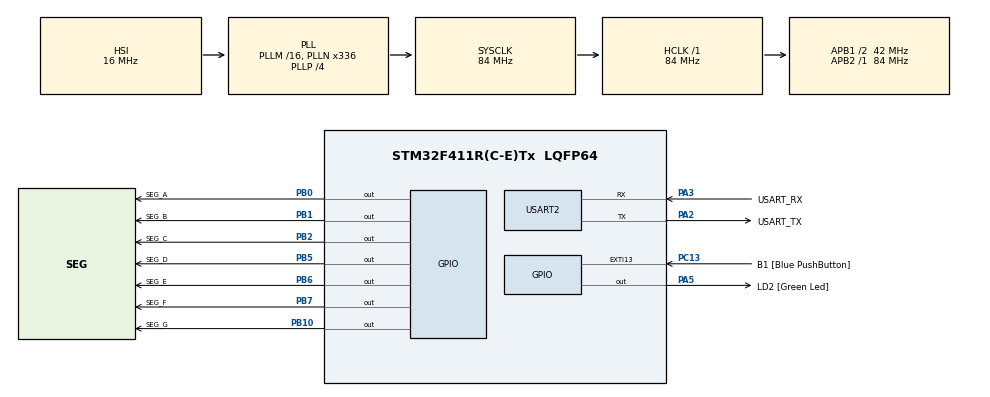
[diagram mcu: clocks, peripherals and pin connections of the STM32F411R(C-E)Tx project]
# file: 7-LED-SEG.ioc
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Mcu.Family=STM32F4
Mcu.Name=STM32F411R(C-E)Tx
Mcu.Package=LQFP64
NVIC.PriorityGroup=NVIC_PRIORITYGROUP_0
PA13.GPIO_Label=TMS
PA13.Mode=Serial_Wire
PA13.Signal=SYS_JTMS-SWDIO
PA14.GPIO_Label=TCK
PA14.Mode=Serial_Wire
PA14.Signal=SYS_JTCK-SWCLK
PA2.GPIO_Label=USART_TX
PA2.Mode=Asynchronous
PA2.Signal=USART2_TX
PA3.GPIO_Label=USART_RX
PA3.Mode=Asynchronous
PA3.Signal=USART2_RX
PA5.GPIO_Label=LD2 [Green Led]
PA5.Signal=GPIO_Output
PB0.GPIO_Label=SEG_A
PB0.Signal=GPIO_Output
PB1.GPIO_Label=SEG_B
PB1.Signal=GPIO_Output
PB10.GPIO_Label=SEG_G
PB10.Signal=GPIO_Output
PB2.GPIO_Label=SEG_C
PB2.Signal=GPIO_Output
PB3.GPIO_Label=SWO
PB3.Signal=SYS_JTDO-SWO
PB5.GPIO_Label=SEG_D
PB5.Signal=GPIO_Output
PB6.GPIO_Label=SEG_E
PB6.Signal=GPIO_Output
PB7.GPIO_Label=SEG_F
PB7.Signal=GPIO_Output
PC13-ANTI_TAMP.GPIO_Label=B1 [Blue PushButton]
PC13-ANTI_TAMP.GPIO_ModeDefaultEXTI=GPIO_MODE_IT_FALLING
PC13-ANTI_TAMP.Signal=GPXTI13
PC14-OSC32_IN.Mode=LSE-External-Oscillator
PC14-OSC32_IN.Signal=RCC_OSC32_IN
PC15-OSC32_OUT.Mode=LSE-External-Oscillator
PC15-OSC32_OUT.Signal=RCC_OSC32_OUT
PH0\ -\ OSC_IN.Mode=HSE-External-Clock-Source
PH0\ -\ OSC_IN.Signal=RCC_OSC_IN
PH1\ -\ OSC_OUT.Mode=HSE-External-Clock-Source
PH1\ -\ OSC_OUT.Signal=RCC_OSC_OUT
ProjectManager.HeapSize=0x200
ProjectManager.StackSize=0x400
ProjectManager.TargetToolchain=STM32CubeIDE
RCC.48MHZClocksFreq_Value=84000000
RCC.AHBFreq_Value=84000000
RCC.APB1CLKDivider=RCC_HCLK_DIV2
RCC.APB1Freq_Value=42000000
RCC.APB1TimFreq_Value=84000000
RCC.APB2Freq_Value=84000000
RCC.APB2TimFreq_Value=84000000
RCC.CortexFreq_Value=84000000
RCC.FLatency-AdvancedSettings=FLASH_LATENCY_2
RCC.HCLKFreq_Value=84000000
RCC.HSE_VALUE=8000000
RCC.HSI_VALUE=16000000
RCC.PLLN=336
RCC.PLLP=RCC_PLLP_DIV4
RCC.SYSCLKFreq_VALUE=84000000
RCC.SYSCLKSource=RCC_SYSCLKSOURCE_PLLCLK
RCC.VCOOutputFreq_Value=336000000
USART2.VirtualMode=VM_ASYNC
board=NUCLEO-F411RE

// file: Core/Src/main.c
/* USER CODE BEGIN Header */
/**
  ******************************************************************************
  * @file           : main.c
  * @brief          : Main program body
  ******************************************************************************
  * @attention
  *
  * Copyright (c) 2026 STMicroelectronics.
  * All rights reserved.
  *
  * This software is licensed under terms that can be found in the LICENSE file
  * in the root directory of this software component.
  * If no LICENSE file comes with this software, it is provided AS-IS.
  *
  ******************************************************************************
  */
/* USER CODE END Header */
#include "main.h"

UART_HandleTypeDef huart2;

void SystemClock_Config(void);
static void MX_GPIO_Init(void);
static void MX_USART2_UART_Init(void);

/* USER CODE BEGIN 0 */
// Thứ tự bit: g f e d c b a (bit0=a ... bit6=g), 1 = tắt, 0 = sáng (common anode)
uint8_t seg_code[10] = {
    0b1000000, // 0 -> abcdef sáng, g tắt... (sẽ tách theo từng chân riêng bên dưới)
};

// Vì mỗi đoạn đi ra 1 chân GPIO riêng (không dùng shift register),
// ta dùng mảng segment pattern cho từng số, theo thứ tự a,b,c,d,e,f,g:
// 1 = sáng, 0 = tắt (sẽ đảo dấu khi ghi ra chân vì active-low)
uint8_t digit_pattern[10][7] = {
    {1,1,1,1,1,1,0}, // 0
    {0,1,1,0,0,0,0}, // 1
    {1,1,0,1,1,0,1}, // 2
    {1,1,1,1,0,0,1}, // 3
    {0,1,1,0,0,1,1}, // 4
    {1,0,1,1,0,1,1}, // 5
    {1,0,1,1,1,1,1}, // 6
    {1,1,1,0,0,0,0}, // 7
    {1,1,1,1,1,1,1}, // 8
    {1,1,1,1,0,1,1}  // 9
};
void display_digit(uint8_t d)
{
    HAL_GPIO_WritePin(SEG_A_GPIO_Port, SEG_A_Pin, digit_pattern[d][0] ? GPIO_PIN_RESET : GPIO_PIN_SET);
    HAL_GPIO_WritePin(SEG_B_GPIO_Port, SEG_B_Pin, digit_pattern[d][1] ? GPIO_PIN_RESET : GPIO_PIN_SET);
    HAL_GPIO_WritePin(SEG_C_GPIO_Port, SEG_C_Pin, digit_pattern[d][2] ? GPIO_PIN_RESET : GPIO_PIN_SET);
    HAL_GPIO_WritePin(SEG_D_GPIO_Port, SEG_D_Pin, digit_pattern[d][3] ? GPIO_PIN_RESET : GPIO_PIN_SET);
    HAL_GPIO_WritePin(SEG_E_GPIO_Port, SEG_E_Pin, digit_pattern[d][4] ? GPIO_PIN_RESET : GPIO_PIN_SET);
    HAL_GPIO_WritePin(SEG_F_GPIO_Port, SEG_F_Pin, digit_pattern[d][5] ? GPIO_PIN_RESET : GPIO_PIN_SET);
    HAL_GPIO_WritePin(SEG_G_GPIO_Port, SEG_G_Pin, digit_pattern[d][6] ? GPIO_PIN_RESET : GPIO_PIN_SET);
}
/* USER CODE END 0 */

int main(void)
{

  /* MCU Configuration--------------------------------------------------------*/

  /* Reset of all peripherals, Initializes the Flash interface and the Systick. */
  HAL_Init();

  /* Configure the system clock */
  SystemClock_Config();

  /* Initialize all configured peripherals */
  MX_GPIO_Init();
  MX_USART2_UART_Init();

  /* Infinite loop */
  while (1)
  {
	    for (uint8_t i = 0; i <= 9; i++)
	    {
	        display_digit(i);
	        HAL_Delay(1000); // đổi số mỗi 1 giây
	    }
  }
}

void SystemClock_Config(void)
{
  RCC_OscInitTypeDef RCC_OscInitStruct = {0};
  RCC_ClkInitTypeDef RCC_ClkInitStruct = {0};

  /** Configure the main internal regulator output voltage
  */
  __HAL_RCC_PWR_CLK_ENABLE();
  __HAL_PWR_VOLTAGESCALING_CONFIG(PWR_REGULATOR_VOLTAGE_SCALE1);

  /** Initializes the RCC Oscillators according to the specified parameters
  * in the RCC_OscInitTypeDef structure.
  */
  RCC_OscInitStruct.OscillatorType = RCC_OSCILLATORTYPE_HSI;
  RCC_OscInitStruct.HSIState = RCC_HSI_ON;
  RCC_OscInitStruct.HSICalibrationValue = RCC_HSICALIBRATION_DEFAULT;
  RCC_OscInitStruct.PLL.PLLState = RCC_PLL_ON;
  RCC_OscInitStruct.PLL.PLLSource = RCC_PLLSOURCE_HSI;
  RCC_OscInitStruct.PLL.PLLM = 16;
  RCC_OscInitStruct.PLL.PLLN = 336;
  RCC_OscInitStruct.PLL.PLLP = RCC_PLLP_DIV4;
  RCC_OscInitStruct.PLL.PLLQ = 4;
  if (HAL_RCC_OscConfig(&RCC_OscInitStruct) != HAL_OK)
  {
    Error_Handler();
  }

  /** Initializes the CPU, AHB and APB buses clocks
  */
  RCC_ClkInitStruct.ClockType = RCC_CLOCKTYPE_HCLK|RCC_CLOCKTYPE_SYSCLK
                              |RCC_CLOCKTYPE_PCLK1|RCC_CLOCKTYPE_PCLK2;
  RCC_ClkInitStruct.SYSCLKSource = RCC_SYSCLKSOURCE_PLLCLK;
  RCC_ClkInitStruct.AHBCLKDivider = RCC_SYSCLK_DIV1;
  RCC_ClkInitStruct.APB1CLKDivider = RCC_HCLK_DIV2;
  RCC_ClkInitStruct.APB2CLKDivider = RCC_HCLK_DIV1;

  if (HAL_RCC_ClockConfig(&RCC_ClkInitStruct, FLASH_LATENCY_2) != HAL_OK)
  {
    Error_Handler();
  }
}

static void MX_USART2_UART_Init(void)
{

  huart2.Instance = USART2;
  huart2.Init.BaudRate = 115200;
  huart2.Init.WordLength = UART_WORDLENGTH_8B;
  huart2.Init.StopBits = UART_STOPBITS_1;
  huart2.Init.Parity = UART_PARITY_NONE;
  huart2.Init.Mode = UART_MODE_TX_RX;
  huart2.Init.HwFlowCtl = UART_HWCONTROL_NONE;
  huart2.Init.OverSampling = UART_OVERSAMPLING_16;
  if (HAL_UART_Init(&huart2) != HAL_OK)
  {
    Error_Handler();
  }

}

static void MX_GPIO_Init(void)
{
  GPIO_InitTypeDef GPIO_InitStruct = {0};

  /* GPIO Ports Clock Enable */
  __HAL_RCC_GPIOC_CLK_ENABLE();
  __HAL_RCC_GPIOH_CLK_ENABLE();
  __HAL_RCC_GPIOA_CLK_ENABLE();
  __HAL_RCC_GPIOB_CLK_ENABLE();

  /*Configure GPIO pin Output Level */
  HAL_GPIO_WritePin(LD2_GPIO_Port, LD2_Pin, GPIO_PIN_RESET);

  /*Configure GPIO pin Output Level */
  HAL_GPIO_WritePin(GPIOB, SEG_A_Pin|SEG_B_Pin|SEG_C_Pin|SEG_G_Pin
                          |SEG_D_Pin|SEG_E_Pin|SEG_F_Pin, GPIO_PIN_RESET);

  /*Configure GPIO pin : B1_Pin */
  GPIO_InitStruct.Pin = B1_Pin;
  GPIO_InitStruct.Mode = GPIO_MODE_IT_FALLING;
  GPIO_InitStruct.Pull = GPIO_NOPULL;
  HAL_GPIO_Init(B1_GPIO_Port, &GPIO_InitStruct);

  /*Configure GPIO pin : LD2_Pin */
  GPIO_InitStruct.Pin = LD2_Pin;
  GPIO_InitStruct.Mode = GPIO_MODE_OUTPUT_PP;
  GPIO_InitStruct.Pull = GPIO_NOPULL;
  GPIO_InitStruct.Speed = GPIO_SPEED_FREQ_LOW;
  HAL_GPIO_Init(LD2_GPIO_Port, &GPIO_InitStruct);

  /*Configure GPIO pins : SEG_A_Pin SEG_B_Pin SEG_C_Pin SEG_G_Pin
                           SEG_D_Pin SEG_E_Pin SEG_F_Pin */
  GPIO_InitStruct.Pin = SEG_A_Pin|SEG_B_Pin|SEG_C_Pin|SEG_G_Pin
                          |SEG_D_Pin|SEG_E_Pin|SEG_F_Pin;
  GPIO_InitStruct.Mode = GPIO_MODE_OUTPUT_PP;
  GPIO_InitStruct.Pull = GPIO_NOPULL;
  GPIO_InitStruct.Speed = GPIO_SPEED_FREQ_LOW;
  HAL_GPIO_Init(GPIOB, &GPIO_InitStruct);

}

void Error_Handler(void)
{
  __disable_irq();
  while (1)
  {
  }
}
